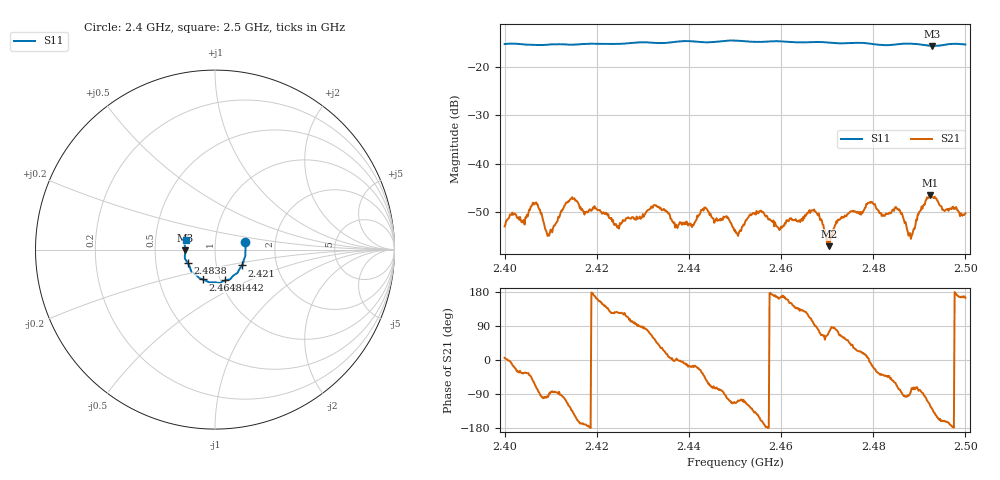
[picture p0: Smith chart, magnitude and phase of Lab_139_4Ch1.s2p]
# Hz S RI R 50
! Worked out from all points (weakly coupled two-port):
!   601 points, 2.4 GHz to 2.5 GHz, reference 50 ohm
!   highest |S21| = -46.48 dB at 2.4923 GHz (marker M1); lowest = -57.1 dB at 2.4705 GHz (marker M2)
!   lowest |S11| = -15.6 dB at 2.4928 GHz (marker M3), VSWR 1.40, Z = 35.8 - j0.361 ohm
!   |S11| at or under -10 dB: start of sweep to end of sweep
!   S12 and S22 are empty: the file has one direction only
!   S11 on the Smith chart (normalised r, x): 2.4 GHz: 1.40, +0.12; 2.421 GHz: 1.33, -0.24; 2.4442 GHz: 1.05, -0.37; 2.4648 GHz: 0.83, -0.28; 2.4838 GHz: 0.73, -0.11; 2.5 GHz: 0.72, +0.08
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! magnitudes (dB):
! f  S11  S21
! 2.4 GHz  -15.2  -53.0
! 2.4067 GHz  -15.4  -48.3
! 2.4098 GHz  -15.3  -54.3
! 2.4142 GHz  -15.4  -47.5
! 2.4167 GHz  -15.3  -49.6
! 2.421 GHz  -15.2  -50.0
! 2.4243 GHz  -15.2  -53.0
! 2.4333 GHz  -15.0  -49.0
! 2.4373 GHz  -14.7  -52.9
! 2.4442 GHz  -14.9  -49.9
! 2.45 GHz  -14.5  -53.7
! 2.4552 GHz  -14.8  -50.1
! 2.4648 GHz  -14.9  -51.0
! 2.4667 GHz  -14.8  -49.7
! 2.4705 GHz  -15.0  -57.1
! 2.479 GHz  -15.1  -48.1
! 2.4833 GHz  -15.5  -50.4
! 2.4838 GHz  -15.4  -50.3
! 2.4882 GHz  -15.2  -55.6
! 2.4923 GHz  -15.6  -46.5
! 2.4928 GHz  -15.6  -46.9
! 2.5 GHz  -15.3  -50.3
